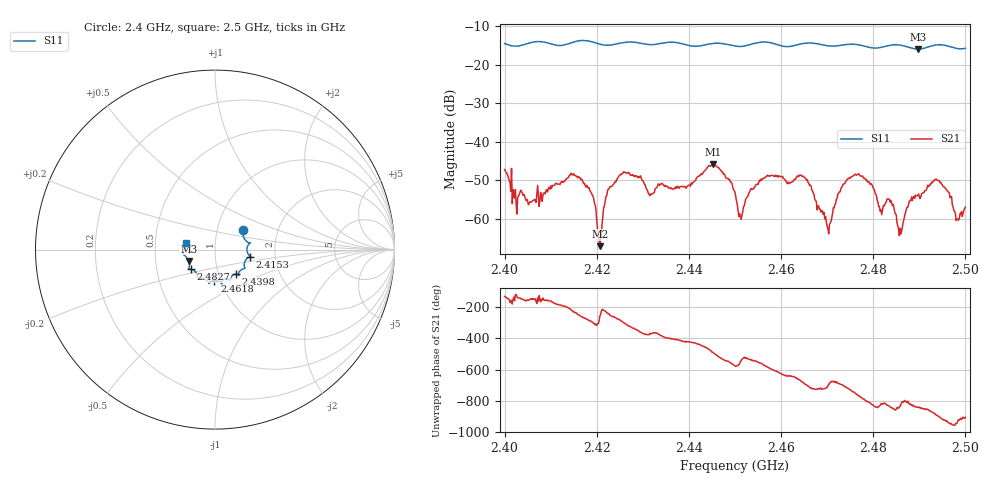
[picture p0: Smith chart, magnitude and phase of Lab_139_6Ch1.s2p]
# Hz S RI R 50
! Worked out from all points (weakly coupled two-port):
!   601 points, 2.4 GHz to 2.5 GHz, reference 50 ohm
!   highest |S21| = -45.89 dB at 2.4452 GHz (marker M1); lowest = -67.1 dB at 2.4207 GHz (marker M2)
!   lowest |S11| = -15.9 dB at 2.4897 GHz (marker M3), VSWR 1.38, Z = 36.9 - j4.81 ohm
!   |S11| at or under -10 dB: start of sweep to end of sweep
!   S12 and S22 are empty: the file has one direction only
!   S11 on the Smith chart (normalised r, x): 2.4 GHz: 1.33, +0.29; 2.4153 GHz: 1.48, -0.12; 2.4398 GHz: 1.21, -0.34; 2.4618 GHz: 0.94, -0.33; 2.4827 GHz: 0.75, -0.17; 2.5 GHz: 0.72, +0.06
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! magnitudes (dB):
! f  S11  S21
! 2.4 GHz  -14.5  -47.2
! 2.4055 GHz  -14.3  -55.6
! 2.4153 GHz  -14.0  -48.8
! 2.4167 GHz  -13.7  -49.7
! 2.4207 GHz  -14.6  -67.1
! 2.4253 GHz  -14.3  -48.5
! 2.4333 GHz  -14.6  -51.0
! 2.4398 GHz  -15.0  -51.3
! 2.4452 GHz  -14.5  -45.9
! 2.45 GHz  -15.1  -53.1
! 2.4512 GHz  -15.3  -59.4
! 2.4558 GHz  -14.1  -49.9
! 2.4618 GHz  -15.3  -50.6
! 2.4667 GHz  -14.4  -52.5
! 2.4703 GHz  -15.1  -63.9
! 2.4757 GHz  -14.7  -48.9
! 2.4827 GHz  -15.2  -56.1
! 2.4833 GHz  -15.0  -54.9
! 2.4858 GHz  -14.9  -62.4
! 2.4897 GHz  -15.9  -54.0
! 2.4938 GHz  -14.8  -50.0
! 2.5 GHz  -15.7  -57.0
